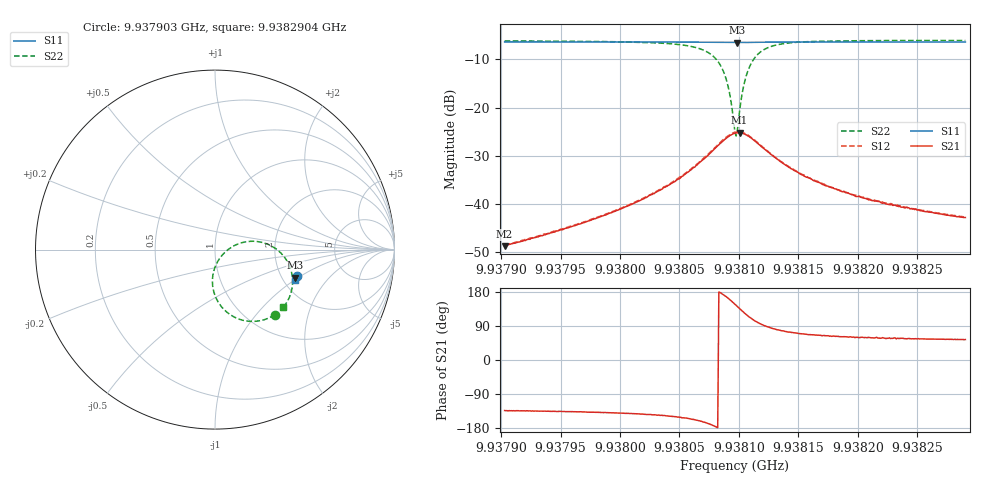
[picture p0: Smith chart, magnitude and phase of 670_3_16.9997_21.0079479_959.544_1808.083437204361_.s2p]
#  HZ  S  RI  R  50.00
! Rohde & Schwarz Vector Network Analyzer
! Rohde-Schwarz,ZNB20-2Port,1311601062101988,3.16
! Created: UTC 3/20/2024, 11:22:08 PM
! freq[Hz]  re:S11  im:S11  re:S21  im:S21  re:S12  im:S12  re:S22  im:S22
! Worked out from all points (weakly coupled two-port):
!   401 points, 9.937903 GHz to 9.9382904 GHz, reference 50 ohm
!   highest |S21| = -25.21 dB at 9.9381006 GHz (marker M1); lowest = -48.8 dB at 9.937903 GHz (marker M2)
!   lowest |S11| = -6.5 dB at 9.9380986 GHz (marker M3), VSWR 2.80, Z = 117 - j47.5 ohm
!   |S11| at or under -10 dB: nowhere
!   |S22| runs from -25.9 to -6.1 dB; largest |S21 - S12| = 0.0022
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9.937903e9  0.4578 -0.1476  -0.0025 -0.00264  -0.00263 -0.00265  0.3336 -0.3621
9.93796789e9  0.4558 -0.1523  -0.00459 -0.00429  -0.00473 -0.00431  0.3113 -0.3754
9.93800469e9  0.4546 -0.1548  -0.00725 -0.00589  -0.00738 -0.00589  0.2866 -0.3863
9.93803278e9  0.4535 -0.157  -0.0112 -0.00784  -0.0117 -0.00767  0.2496 -0.3964
9.93806377e9  0.4513 -0.1595  -0.0231 -0.00916  -0.0237 -0.00898  0.1514 -0.3927
9.93808024e9  0.4489 -0.16  -0.0379 -0.00297  -0.0388 -0.0024  0.039 -0.322
9.93808605e9  0.448 -0.1597  -0.0442 0.00448  -0.0454 0.00569  -0.00133 -0.2517
9.93808992e9  0.4473 -0.159  -0.0473 0.0121  -0.048 0.0135  -0.0141 -0.1847
9.93809283e9  0.4469 -0.1586  -0.0478 0.0194  -0.0486 0.0209  -0.00856 -0.1262
9.9380967e9  0.447 -0.1575  -0.0454 0.0294  -0.0459 0.0313  0.0262 -0.0486
9.93809767e9  0.4469 -0.1572  -0.0443 0.0319  -0.0444 0.0338  0.0407 -0.0303
9.93809864e9  0.447 -0.1571  -0.0427 0.0342  -0.0428 0.0361  0.0556 -0.0144
9.93810058e9  0.4473 -0.1565  -0.0393 0.0383  -0.0389 0.0401  0.0917 0.0132
9.93810348e9  0.4479 -0.1561  -0.0325 0.043  -0.032 0.0446  0.1518 0.0391
9.93810639e9  0.4485 -0.1557  -0.0254 0.0454  -0.0244 0.0469  0.2134 0.0467
9.93811026e9  0.4494 -0.1559  -0.0164 0.0455  -0.0154 0.0466  0.2845 0.0334
9.93811607e9  0.4506 -0.1565  -0.00623 0.0418  -0.0052 0.0427  0.3597 -0.0121
9.93813157e9  0.4519 -0.1587  0.00495 0.0291  0.00561 0.0294  0.4275 -0.1312
9.93816159e9  0.4516 -0.162  0.00709 0.0164  0.00764 0.0164  0.4244 -0.2368
9.93819646e9  0.4507 -0.165  0.00606 0.0107  0.00631 0.0107  0.4068 -0.2816
9.93822648e9  0.4498 -0.167  0.00516 0.00838  0.00547 0.00831  0.3957 -0.3005
9.9382904e9  0.448 -0.1713  0.00424 0.00583  0.00438 0.00578  0.3798 -0.3219
